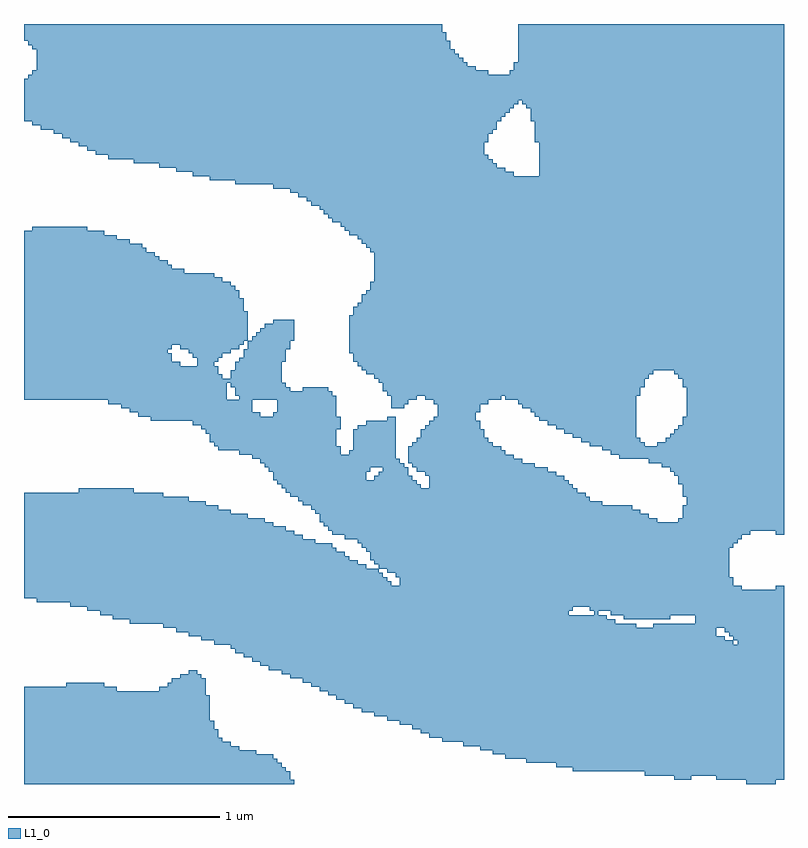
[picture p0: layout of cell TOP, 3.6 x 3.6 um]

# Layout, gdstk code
import gdstk
lib = gdstk.Library(unit=1e-6, precision=1e-09)
def R(c, l, rs):  # rectangles x0, y0, x1, y1
    for r in rs: c.add(gdstk.rectangle(r[:2], r[2:], *l))
def A(c, l, x, y, w, h, nx, ny, dx, dy):  # array of equal rectangles
    R(c, l, [(x+i*dx, y+j*dy, x+i*dx+w, y+j*dy+h) for i in range(nx) for j in range(ny)])
L1_0 = (1, 0)

top = lib.new_cell('TOP')
A(top, L1_0, 0, 0.3, 0.88, 0.02, 1, 6, 0, 0.02)
A(top, L1_0, 3.12, 1.26, 0.48, 0.02, 1, 3, 0, 0.02)
A(top, L1_0, 3.12, 1.36, 0.48, 0.02, 1, 3, 0, 0.02)
A(top, L1_0, 3.1, 1.44, 0.5, 0.02, 1, 3, 0, 0.24)
A(top, L1_0, 1.56, 1.58, 0.2, 0.02, 1, 5, 0, 0.02)
A(top, L1_0, 3.14, 1.74, 0.46, 0.02, 1, 7, 0, 0.02)
A(top, L1_0, 1.2, 1.76, 0.28, 0.02, 1, 3, 0, 0.02)
A(top, L1_0, 0, 1.82, 0.96, 0.02, 1, 4, 0, 0.02)
A(top, L1_0, 1.54, 2.04, 2.06, 0.02, 1, 9, 0, 0.02)
A(top, L1_0, 0, 2.1, 1.06, 0.02, 1, 7, 0, 0.02)
A(top, L1_0, 0, 2.24, 1.04, 0.02, 1, 3, 0, 0.02)
A(top, L1_0, 1.66, 2.38, 1.94, 0.02, 1, 7, 0, 0.02)
A(top, L1_0, 2.44, 2.88, 1.16, 0.02, 1, 8, 0, 0.02)
A(top, L1_0, 2.42, 3.04, 1.18, 0.02, 1, 5, 0, 0.02)
A(top, L1_0, 2.4, 3.14, 1.2, 0.02, 1, 3, 0, 0.02)
A(top, L1_0, 0, 3.24, 3.6, 0.02, 1, 5, 0, 0.02)
A(top, L1_0, 2.34, 3.42, 1.26, 0.02, 1, 9, 0, 0.02)
R(top, L1_0, [(0,0,1.28,0.02), (3.42,0,3.56,0.02), (0,0.02,1.26,0.04), (3.08,0.02,3.16,0.04), (3.28,0.02,3.6,0.04), (0,0.04,1.26,0.06), (2.94,0.04,3.6,0.06), (0,0.06,1.24,0.08), (2.6,0.06,3.6,0.08), (0,0.08,1.22,0.1), (2.52,0.08,3.6,0.1), (0,0.1,1.2,0.12), (2.38,0.1,3.6,0.12), (0,0.12,1.18,0.14), (2.28,0.12,3.6,0.14), (0,0.14,1.1,0.16), (2.22,0.14,3.6,0.16), (0,0.16,1.02,0.18), (2.16,0.16,3.6,0.18), (0,0.18,0.98,0.2), (2.08,0.18,3.6,0.2), (0,0.2,0.94,0.22), (1.98,0.2,3.6,0.22), (0,0.22,0.92,0.24), (1.92,0.22,3.6,0.24), (0,0.24,0.92,0.26), (1.88,0.24,3.6,0.26), (0,0.26,0.9,0.28), (1.84,0.26,3.6,0.28), (0,0.28,0.9,0.3), (1.78,0.28,3.6,0.3), (1.72,0.3,3.6,0.32), (1.66,0.32,3.6,0.34), (1.6,0.34,3.6,0.36), (1.56,0.36,3.6,0.38), (1.52,0.38,3.6,0.4), (1.48,0.4,3.6,0.42), (0,0.42,0.86,0.44), (1.44,0.42,3.6,0.44), (0,0.44,0.44,0.46), (0.64,0.44,0.86,0.46), (1.4,0.44,3.6,0.46), (0.2,0.46,0.38,0.48), (0.68,0.46,0.86,0.48), (1.36,0.46,3.6,0.48), (0.7,0.48,0.86,0.5), (1.32,0.48,3.6,0.5), (0.74,0.5,0.84,0.52), (1.26,0.5,3.6,0.52), (0.78,0.52,0.82,0.54), (1.22,0.52,3.6,0.54), (1.16,0.54,3.6,0.56), (1.12,0.56,3.6,0.58), (1.08,0.58,3.6,0.6), (1.04,0.6,3.6,0.62), (1,0.62,3.6,0.64), (0.98,0.64,3.6,0.66), (0.9,0.66,3.36,0.68), (3.38,0.66,3.6,0.68), (0.84,0.68,3.32,0.7), (3.36,0.68,3.6,0.7), (0.78,0.7,3.28,0.72), (3.34,0.7,3.6,0.72), (0.72,0.72,3.28,0.74), (3.32,0.72,3.6,0.74), (0.66,0.74,2.9,0.76), (2.98,0.74,3.6,0.76), (0.5,0.76,2.8,0.78), (3.18,0.76,3.6,0.78), (0.42,0.78,2.76,0.8), (2.84,0.78,3.06,0.8), (3.18,0.78,3.6,0.8), (0.36,0.8,2.58,0.82), (2.7,0.8,2.72,0.82), (2.78,0.8,3.6,0.82), (0.3,0.82,2.6,0.84), (2.68,0.82,3.6,0.84), (0.22,0.84,3.6,0.86), (0.06,0.86,3.6,0.88), (0,0.88,3.6,0.9), (0,0.9,3.6,0.92), (0,0.92,3.4,0.94), (3.56,0.92,3.6,0.94), (0,0.94,1.74,0.96), (1.78,0.94,3.36,0.96), (0,0.96,1.72,0.98), (1.78,0.96,3.36,0.98), (0,0.98,1.7,1), (1.76,0.98,3.34,1), (0,1,1.68,1.02), (1.72,1,3.34,1.02), (0,1.02,1.62,1.04), (1.68,1.02,3.34,1.04), (0,1.04,1.58,1.06), (1.66,1.04,3.34,1.06), (0,1.06,1.54,1.08), (1.64,1.06,3.34,1.08), (0,1.08,1.52,1.1), (1.64,1.08,3.34,1.1), (0,1.1,1.48,1.12), (1.62,1.1,3.34,1.12), (0,1.12,1.46,1.14), (1.6,1.12,3.36,1.14), (0,1.14,1.38,1.16), (1.58,1.14,3.38,1.16), (0,1.16,1.32,1.18), (1.52,1.16,3.4,1.18), (0,1.18,1.28,1.2), (1.46,1.18,3.44,1.2), (3.56,1.18,3.6,1.2), (0,1.2,1.24,1.22), (1.44,1.2,3.6,1.22), (0,1.22,1.18,1.24), (1.42,1.22,3.6,1.24), (0,1.24,1.14,1.26), (1.4,1.24,3,1.26), (3.1,1.24,3.6,1.26), (0,1.26,1.06,1.28), (1.4,1.26,2.96,1.28), (0,1.28,0.98,1.3), (1.38,1.28,2.92,1.3), (0,1.3,0.92,1.32), (1.36,1.3,2.88,1.32), (0,1.32,0.86,1.34), (1.32,1.32,2.74,1.34), (3.14,1.32,3.6,1.34), (0,1.34,0.78,1.36), (1.3,1.34,2.68,1.36), (3.14,1.34,3.6,1.36), (0,1.36,0.66,1.38), (1.26,1.36,2.66,1.38), (0.26,1.38,0.52,1.4), (1.24,1.38,2.62,1.4), (1.22,1.4,1.88,1.42), (1.92,1.4,2.6,1.42), (1.2,1.42,1.86,1.44), (1.92,1.42,2.58,1.44), (3.1,1.42,3.6,1.44), (1.18,1.44,1.62,1.46), (1.66,1.44,1.84,1.46), (1.92,1.44,2.56,1.46), (1.18,1.46,1.62,1.48), (1.68,1.46,1.82,1.48), (1.9,1.46,2.52,1.48), (3.08,1.46,3.6,1.48), (1.16,1.48,1.64,1.5), (1.7,1.48,1.82,1.5), (1.86,1.48,2.48,1.5), (3.06,1.48,3.6,1.5), (1.14,1.5,1.8,1.52), (1.84,1.5,2.42,1.52), (3.02,1.5,3.6,1.52), (1.12,1.52,1.78,1.54), (1.82,1.52,2.36,1.54), (2.96,1.52,3.6,1.54), (1.08,1.54,1.76,1.56), (1.82,1.54,2.32,1.56), (2.82,1.54,3.6,1.56), (1.02,1.56,1.5,1.58), (1.54,1.56,1.76,1.58), (1.82,1.56,2.28,1.58), (2.78,1.56,3.6,1.58), (0.92,1.58,1.5,1.6), (1.82,1.58,2.26,1.6), (2.74,1.58,3.6,1.6), (0.9,1.6,1.48,1.62), (1.84,1.6,2.22,1.62), (2.68,1.6,2.94,1.62), (3,1.6,3.6,1.62), (0.88,1.62,1.48,1.64), (1.86,1.62,2.2,1.64), (2.64,1.62,2.92,1.64), (3.04,1.62,3.6,1.64), (0.88,1.64,1.48,1.66), (1.88,1.64,2.18,1.66), (2.6,1.64,2.9,1.66), (3.06,1.64,3.6,1.66), (0.86,1.66,1.48,1.68), (1.88,1.66,2.18,1.68), (2.56,1.66,2.9,1.68), (3.08,1.66,3.6,1.68), (0.84,1.68,1.5,1.7), (1.58,1.68,1.76,1.7), (1.9,1.68,2.16,1.7), (2.52,1.68,2.9,1.7), (0.8,1.7,1.5,1.72), (1.62,1.7,1.76,1.72), (1.92,1.7,2.16,1.72), (2.48,1.7,2.9,1.72), (3.12,1.7,3.6,1.72), (0.6,1.72,1.5,1.74), (1.72,1.72,1.76,1.74), (1.94,1.72,2.14,1.74), (2.44,1.72,2.9,1.74), (3.12,1.72,3.6,1.74), (0.54,1.74,1.12,1.76), (1.18,1.74,1.48,1.76), (1.96,1.74,2.14,1.76), (2.42,1.74,2.9,1.76), (0.5,1.76,1.08,1.78), (1.96,1.76,2.16,1.78), (2.4,1.76,2.9,1.78), (0.46,1.78,1.08,1.8), (1.74,1.78,1.8,1.8), (1.96,1.78,2.16,1.8), (2.36,1.78,2.9,1.8), (0.4,1.8,1.08,1.82), (1.74,1.8,1.82,1.82), (1.94,1.8,2.2,1.82), (2.34,1.8,2.9,1.82), (1.02,1.82,1.48,1.84), (1.74,1.82,1.86,1.84), (1.9,1.82,2.26,1.84), (2.28,1.82,2.9,1.84), (1,1.84,1.46,1.86), (1.72,1.84,2.92,1.86), (1,1.86,1.26,1.88), (1.32,1.86,1.44,1.88), (1.7,1.86,2.92,1.88), (0.98,1.88,1.24,1.9), (1.7,1.88,2.94,1.9), (3.12,1.88,3.6,1.9), (0,1.9,1.22,1.92), (1.68,1.9,2.94,1.92), (3.12,1.9,3.6,1.92), (0,1.92,0.94,1.94), (0.98,1.92,1.22,1.94), (1.66,1.92,2.96,1.94), (0,1.94,0.92,1.96), (0.98,1.94,1.22,1.96), (1.62,1.94,2.98,1.96), (3.08,1.94,3.6,1.96), (0,1.96,0.92,1.98), (1,1.96,1.22,1.98), (1.6,1.96,3.6,1.98), (0,1.98,0.74,2), (0.82,1.98,0.9,2), (1,1.98,1.22,2), (1.58,1.98,3.6,2), (0,2,0.7,2.02), (0.82,2,0.92,2.02), (1.02,2,1.24,2.02), (1.56,2,3.6,2.02), (0,2.02,0.7,2.04), (0.8,2.02,0.94,2.04), (1.04,2.02,1.24,2.04), (1.56,2.02,3.6,2.04), (0,2.04,0.68,2.06), (0.78,2.04,0.98,2.06), (1.04,2.04,1.24,2.06), (0,2.06,0.7,2.08), (0.74,2.06,1.02,2.08), (1.06,2.06,1.26,2.08), (0,2.08,1.04,2.1), (1.06,2.08,1.26,2.1), (1.08,2.1,1.28,2.12), (1.1,2.12,1.28,2.14), (1.12,2.14,1.28,2.16), (1.14,2.16,1.28,2.18), (1.18,2.18,1.28,2.2), (1.56,2.22,3.6,2.24), (1.56,2.24,3.6,2.26), (1.58,2.26,3.6,2.28), (1.6,2.28,3.6,2.3), (0,2.3,1.02,2.32), (1.6,2.3,3.6,2.32), (0,2.32,1.02,2.34), (1.62,2.32,3.6,2.34), (0,2.34,1,2.36), (1.64,2.34,3.6,2.36), (0,2.36,0.98,2.38), (1.64,2.36,3.6,2.38), (0,2.38,0.94,2.4), (0,2.4,0.9,2.42), (0,2.42,0.76,2.44), (0,2.44,0.7,2.46), (0,2.46,0.68,2.48), (0,2.48,0.64,2.5), (0,2.5,0.62,2.52), (0,2.52,0.58,2.54), (1.64,2.52,3.6,2.54), (0,2.54,0.56,2.56), (1.62,2.54,3.6,2.56), (0,2.56,0.5,2.58), (1.6,2.56,3.6,2.58), (0,2.58,0.44,2.6), (1.58,2.58,3.6,2.6), (0,2.6,0.38,2.62), (1.54,2.6,3.6,2.62), (0.04,2.62,0.3,2.64), (1.52,2.62,3.6,2.64), (1.5,2.64,3.6,2.66), (1.46,2.66,3.6,2.68), (1.44,2.68,3.6,2.7), (1.42,2.7,3.6,2.72), (1.4,2.72,3.6,2.74), (1.36,2.74,3.6,2.76), (1.34,2.76,3.6,2.78), (1.3,2.78,3.6,2.8), (1.26,2.8,3.6,2.82), (1.18,2.82,3.6,2.84), (1,2.84,3.6,2.86), (0.88,2.86,3.6,2.88), (0.8,2.88,2.32,2.9), (0.72,2.9,2.28,2.92), (0.64,2.92,2.24,2.94), (0.52,2.94,2.22,2.96), (0.4,2.96,2.2,2.98), (0.34,2.98,2.18,3), (0.3,3,2.18,3.02), (0.26,3.02,2.18,3.04), (0.22,3.04,2.2,3.06), (0.18,3.06,2.2,3.08), (0.14,3.08,2.22,3.1), (0.08,3.1,2.24,3.12), (0.04,3.12,2.24,3.14), (0,3.14,2.26,3.16), (0,3.16,2.28,3.18), (0,3.18,2.3,3.2), (0,3.2,2.32,3.22), (2.38,3.2,3.6,3.22), (0,3.22,2.34,3.24), (2.36,3.22,3.6,3.24), (0.02,3.34,3.6,3.36), (0.04,3.36,2.2,3.38), (2.3,3.36,3.6,3.38), (0.06,3.38,2.14,3.4), (2.32,3.38,3.6,3.4), (0.06,3.4,2.1,3.42), (2.32,3.4,3.6,3.42), (0.06,3.42,2.08,3.44), (0.06,3.44,2.06,3.46), (0.06,3.46,2.04,3.48), (0.04,3.48,2.02,3.5), (0.02,3.5,2.02,3.52), (0,3.52,2,3.54), (0,3.54,2,3.56), (0,3.56,1.98,3.58), (0,3.58,1.98,3.6)])

lib.write_gds('TOP.gds')
